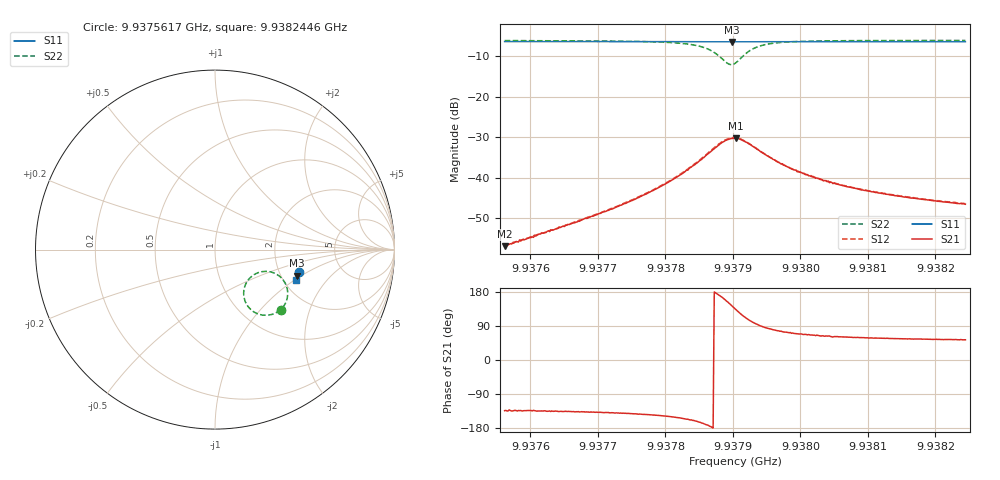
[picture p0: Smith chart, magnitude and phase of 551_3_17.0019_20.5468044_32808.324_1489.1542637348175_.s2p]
#  HZ  S  RI  R  50.00
! Rohde & Schwarz Vector Network Analyzer
! Rohde-Schwarz,ZNB20-2Port,1311601062101988,3.16
! Created: UTC 3/20/2024, 11:16:49 PM
! freq[Hz]  re:S11  im:S11  re:S21  im:S21  re:S12  im:S12  re:S22  im:S22
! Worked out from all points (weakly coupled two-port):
!   401 points, 9.9375617 GHz to 9.9382446 GHz, reference 50 ohm
!   highest |S21| = -30.22 dB at 9.9379048 GHz (marker M1); lowest = -56.8 dB at 9.9375617 GHz (marker M2)
!   lowest |S11| = -6.4 dB at 9.937898 GHz (marker M3), VSWR 2.83, Z = 121 - j45.7 ohm
!   |S11| at or under -10 dB: nowhere
!   |S22| runs from -12.0 to -6.1 dB; largest |S21 - S12| = 0.0015
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9.93756167e9  0.4658 -0.1257  -0.000994 -0.00104  -0.00101 -0.00103  0.3652 -0.3349
9.93767606e9  0.4631 -0.1333  -0.0022 -0.0021  -0.00226 -0.00206  0.3488 -0.3469
9.93774435e9  0.4613 -0.1379  -0.0039 -0.00317  -0.00404 -0.00314  0.3306 -0.3563
9.93779044e9  0.46 -0.1411  -0.00636 -0.00423  -0.00654 -0.00423  0.3073 -0.3637
9.93782459e9  0.4588 -0.1436  -0.0101 -0.00498  -0.0104 -0.00491  0.2745 -0.3661
9.93784337e9  0.4579 -0.1448  -0.0137 -0.00487  -0.0143 -0.00469  0.2447 -0.3602
9.93785873e9  0.457 -0.1457  -0.0182 -0.00342  -0.0187 -0.00322  0.2107 -0.3432
9.93787068e9  0.4559 -0.1463  -0.0224 -0.000196  -0.023 0.000204  0.1809 -0.3125
9.93788263e9  0.4551 -0.1464  -0.0261 0.00601  -0.0266 0.00693  0.1604 -0.2566
9.93789117e9  0.4547 -0.1462  -0.0267 0.0127  -0.0269 0.0137  0.1666 -0.2031
9.937898e9  0.4545 -0.1458  -0.0248 0.018  -0.0246 0.0195  0.1907 -0.162
9.93790312e9  0.4548 -0.1457  -0.0218 0.0217  -0.0216 0.023  0.2192 -0.1386
9.93790483e9  0.4548 -0.1457  -0.0207 0.0229  -0.0203 0.0238  0.2298 -0.1329
9.93791336e9  0.4553 -0.1457  -0.0142 0.0256  -0.0136 0.0264  0.2851 -0.1212
9.93792531e9  0.456 -0.1463  -0.00621 0.0252  -0.00547 0.0256  0.3468 -0.1393
9.93794239e9  0.4564 -0.1477  0.000255 0.0207  0.000924 0.0209  0.3894 -0.1839
9.93796116e9  0.4564 -0.1494  0.00309 0.0165  0.00348 0.0164  0.4033 -0.2238
9.93798677e9  0.456 -0.1516  0.00433 0.0122  0.00446 0.0123  0.4043 -0.258
9.9380175e9  0.4551 -0.1538  0.00424 0.00945  0.00451 0.00947  0.3991 -0.2821
9.9380636e9  0.4541 -0.1572  0.00389 0.007  0.00404 0.00703  0.3906 -0.3022
9.93813189e9  0.452 -0.1617  0.0034 0.0052  0.00355 0.00518  0.3806 -0.3188
9.93824456e9  0.4492 -0.169  0.00283 0.0038  0.00296 0.00382  0.3684 -0.3339
